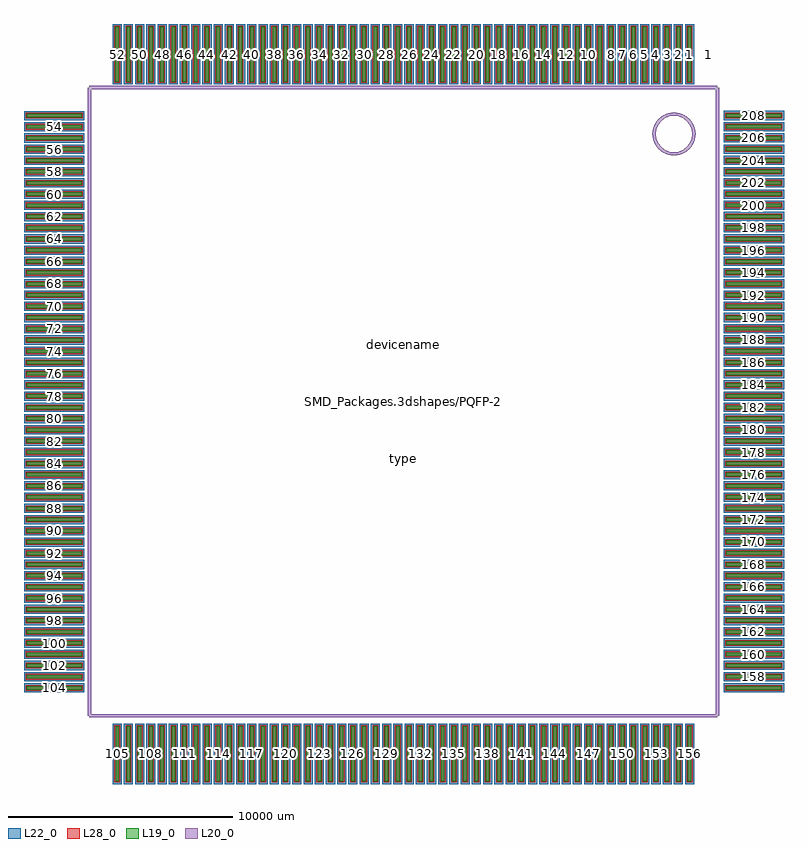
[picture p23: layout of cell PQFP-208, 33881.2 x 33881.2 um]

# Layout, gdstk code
import gdstk
lib = gdstk.Library(unit=1e-6, precision=1e-09)
def R(c, l, rs):  # rectangles x0, y0, x1, y1
    for r in rs: c.add(gdstk.rectangle(r[:2], r[2:], *l))
def A(c, l, x, y, w, h, nx, ny, dx, dy):  # array of equal rectangles
    R(c, l, [(x+i*dx, y+j*dy, x+i*dx+w, y+j*dy+h) for i in range(nx) for j in range(ny)])
L19_0 = (19, 0)
L20_0 = (20, 0)
L22_0 = (22, 0)
L28_0 = (28, 0)

pqfp_208 = lib.new_cell('PQFP-208')
A(pqfp_208, L19_0, -12835.42, -16917.2, 154, 2440, 52, 1, 500.38, 0)
A(pqfp_208, L19_0, -16790.2, -12837.96, 2440, 154, 1, 52, 0, 500.38)
A(pqfp_208, L19_0, 14401, -12835.42, 2440, 154, 1, 52, 0, 500.38)
A(pqfp_208, L19_0, -12837.96, 14274, 154, 2440, 52, 1, 500.38, 0)
A(pqfp_208, L22_0, -12960.42, -17042.2, 404, 2690, 52, 1, 500.38, 0)
A(pqfp_208, L22_0, -16915.2, -12962.96, 2690, 404, 1, 52, 0, 500.38)
A(pqfp_208, L22_0, 14276, -12960.42, 2690, 404, 1, 52, 0, 500.38)
A(pqfp_208, L22_0, -12962.96, 14149, 404, 2690, 52, 1, 500.38, 0)
A(pqfp_208, L28_0, -12885.42, -16967.2, 254, 2540, 52, 1, 500.38, 0)
A(pqfp_208, L28_0, -16840.2, -12887.96, 2540, 254, 1, 52, 0, 500.38)
A(pqfp_208, L28_0, 14351, -12885.42, 2540, 254, 1, 52, 0, 500.38)
A(pqfp_208, L28_0, -12887.96, 14224, 254, 2540, 52, 1, 500.38, 0)
pqfp_208.add(gdstk.FlexPath([(12065,12827),(11834.91,12796.708),(11620.5,12707.897),(11436.382,12566.618),(11295.103,12382.5),(11206.292,12168.09),(11176,11938),(11206.292,11707.91),(11295.103,11493.5),(11436.382,11309.382),(11620.5,11168.103),(11834.91,11079.292),(12065,11049),(12295.09,11079.292),(12509.5,11168.103),(12693.618,11309.382),(12834.897,11493.5),(12923.708,11707.91),(12954,11938),(12923.708,12168.09),(12834.897,12382.5),(12693.618,12566.618),(12509.5,12707.897),(12295.09,12796.708),(12065,12827)], 149.998, ends="flush", simple_path=True, layer=20, datatype=0))  # L20_0
pqfp_208.add(gdstk.FlexPath([(14000.48,14000.48),(0,14000.48)], 149.998, ends="flush", simple_path=True, layer=20, datatype=0))  # L20_0
pqfp_208.add(gdstk.FlexPath([(14000.48,0),(14000.48,14000.48)], 149.998, ends="flush", simple_path=True, layer=20, datatype=0))  # L20_0
pqfp_208.add(gdstk.FlexPath([(14000.48,-14000.48),(14000.48,0)], 149.998, ends="flush", simple_path=True, layer=20, datatype=0))  # L20_0
pqfp_208.add(gdstk.FlexPath([(0,-14000.48),(14000.48,-14000.48)], 149.998, ends="flush", simple_path=True, layer=20, datatype=0))  # L20_0
pqfp_208.add(gdstk.FlexPath([(-14000.48,-14000.48),(0,-14000.48)], 149.998, ends="flush", simple_path=True, layer=20, datatype=0))  # L20_0
pqfp_208.add(gdstk.FlexPath([(-14000.48,0),(-14000.48,-14000.48)], 149.998, ends="flush", simple_path=True, layer=20, datatype=0))  # L20_0
pqfp_208.add(gdstk.FlexPath([(-14000.48,14000.48),(-14000.48,0)], 149.998, ends="flush", simple_path=True, layer=20, datatype=0))  # L20_0
pqfp_208.add(gdstk.FlexPath([(0,14000.48),(-14000.48,14000.48)], 149.998, ends="flush", simple_path=True, layer=20, datatype=0))  # L20_0
pqfp_208.add(gdstk.Label('SMD_Packages.3dshapes/PQFP-208.wrl', (0,0), layer=12, texttype=0))
pqfp_208.add(gdstk.Label('208', (15621,12760.96), layer=28, texttype=0))
pqfp_208.add(gdstk.Label('207', (15621,12260.58), layer=28, texttype=0))
pqfp_208.add(gdstk.Label('206', (15621,11760.2), layer=28, texttype=0))
pqfp_208.add(gdstk.Label('205', (15621,11259.82), layer=28, texttype=0))
pqfp_208.add(gdstk.Label('204', (15621,10759.44), layer=28, texttype=0))
pqfp_208.add(gdstk.Label('203', (15621,10259.06), layer=28, texttype=0))
pqfp_208.add(gdstk.Label('202', (15621,9758.68), layer=28, texttype=0))
pqfp_208.add(gdstk.Label('201', (15621,9258.3), layer=28, texttype=0))
pqfp_208.add(gdstk.Label('200', (15621,8757.92), layer=28, texttype=0))
pqfp_208.add(gdstk.Label('199', (15621,8257.54), layer=28, texttype=0))
pqfp_208.add(gdstk.Label('198', (15621,7757.16), layer=28, texttype=0))
pqfp_208.add(gdstk.Label('197', (15621,7256.78), layer=28, texttype=0))
pqfp_208.add(gdstk.Label('196', (15621,6756.4), layer=28, texttype=0))
pqfp_208.add(gdstk.Label('195', (15621,6256.02), layer=28, texttype=0))
pqfp_208.add(gdstk.Label('194', (15621,5755.64), layer=28, texttype=0))
pqfp_208.add(gdstk.Label('193', (15621,5255.26), layer=28, texttype=0))
pqfp_208.add(gdstk.Label('192', (15621,4754.88), layer=28, texttype=0))
pqfp_208.add(gdstk.Label('191', (15621,4254.5), layer=28, texttype=0))
pqfp_208.add(gdstk.Label('190', (15621,3754.12), layer=28, texttype=0))
pqfp_208.add(gdstk.Label('189', (15621,3253.74), layer=28, texttype=0))
pqfp_208.add(gdstk.Label('188', (15621,2753.36), layer=28, texttype=0))
pqfp_208.add(gdstk.Label('187', (15621,2252.98), layer=28, texttype=0))
pqfp_208.add(gdstk.Label('186', (15621,1752.6), layer=28, texttype=0))
pqfp_208.add(gdstk.Label('185', (15621,1252.22), layer=28, texttype=0))
pqfp_208.add(gdstk.Label('184', (15621,751.84), layer=28, texttype=0))
pqfp_208.add(gdstk.Label('183', (15621,251.46), layer=28, texttype=0))
pqfp_208.add(gdstk.Label('182', (15621,-248.92), layer=28, texttype=0))
pqfp_208.add(gdstk.Label('181', (15621,-749.3), layer=28, texttype=0))
pqfp_208.add(gdstk.Label('180', (15621,-1249.68), layer=28, texttype=0))
pqfp_208.add(gdstk.Label('179', (15621,-1750.06), layer=28, texttype=0))
pqfp_208.add(gdstk.Label('178', (15621,-2250.44), layer=28, texttype=0))
pqfp_208.add(gdstk.Label('177', (15621,-2750.82), layer=28, texttype=0))
pqfp_208.add(gdstk.Label('176', (15621,-3251.2), layer=28, texttype=0))
pqfp_208.add(gdstk.Label('175', (15621,-3751.58), layer=28, texttype=0))
pqfp_208.add(gdstk.Label('174', (15621,-4251.96), layer=28, texttype=0))
pqfp_208.add(gdstk.Label('173', (15621,-4752.34), layer=28, texttype=0))
pqfp_208.add(gdstk.Label('172', (15621,-5252.72), layer=28, texttype=0))
pqfp_208.add(gdstk.Label('171', (15621,-5753.1), layer=28, texttype=0))
pqfp_208.add(gdstk.Label('170', (15621,-6253.48), layer=28, texttype=0))
pqfp_208.add(gdstk.Label('169', (15621,-6753.86), layer=28, texttype=0))
pqfp_208.add(gdstk.Label('168', (15621,-7254.24), layer=28, texttype=0))
pqfp_208.add(gdstk.Label('167', (15621,-7754.62), layer=28, texttype=0))
pqfp_208.add(gdstk.Label('166', (15621,-8255), layer=28, texttype=0))
pqfp_208.add(gdstk.Label('165', (15621,-8755.38), layer=28, texttype=0))
pqfp_208.add(gdstk.Label('164', (15621,-9255.76), layer=28, texttype=0))
pqfp_208.add(gdstk.Label('163', (15621,-9756.14), layer=28, texttype=0))
pqfp_208.add(gdstk.Label('162', (15621,-10256.52), layer=28, texttype=0))
pqfp_208.add(gdstk.Label('161', (15621,-10756.9), layer=28, texttype=0))
pqfp_208.add(gdstk.Label('160', (15621,-11257.28), layer=28, texttype=0))
pqfp_208.add(gdstk.Label('159', (15621,-11757.66), layer=28, texttype=0))
pqfp_208.add(gdstk.Label('158', (15621,-12258.04), layer=28, texttype=0))
pqfp_208.add(gdstk.Label('157', (15621,-12758.42), layer=28, texttype=0))
pqfp_208.add(gdstk.Label('156', (12760.96,-15697.2), layer=28, texttype=0))
pqfp_208.add(gdstk.Label('155', (12260.58,-15697.2), layer=28, texttype=0))
pqfp_208.add(gdstk.Label('154', (11760.2,-15697.2), layer=28, texttype=0))
pqfp_208.add(gdstk.Label('153', (11259.82,-15697.2), layer=28, texttype=0))
pqfp_208.add(gdstk.Label('152', (10759.44,-15697.2), layer=28, texttype=0))
pqfp_208.add(gdstk.Label('151', (10259.06,-15697.2), layer=28, texttype=0))
pqfp_208.add(gdstk.Label('150', (9758.68,-15697.2), layer=28, texttype=0))
pqfp_208.add(gdstk.Label('149', (9258.3,-15697.2), layer=28, texttype=0))
pqfp_208.add(gdstk.Label('148', (8757.92,-15697.2), layer=28, texttype=0))
pqfp_208.add(gdstk.Label('147', (8257.54,-15697.2), layer=28, texttype=0))
pqfp_208.add(gdstk.Label('146', (7757.16,-15697.2), layer=28, texttype=0))
pqfp_208.add(gdstk.Label('145', (7256.78,-15697.2), layer=28, texttype=0))
pqfp_208.add(gdstk.Label('144', (6756.4,-15697.2), layer=28, texttype=0))
pqfp_208.add(gdstk.Label('143', (6256.02,-15697.2), layer=28, texttype=0))
pqfp_208.add(gdstk.Label('142', (5755.64,-15697.2), layer=28, texttype=0))
pqfp_208.add(gdstk.Label('141', (5255.26,-15697.2), layer=28, texttype=0))
pqfp_208.add(gdstk.Label('140', (4754.88,-15697.2), layer=28, texttype=0))
pqfp_208.add(gdstk.Label('139', (4254.5,-15697.2), layer=28, texttype=0))
pqfp_208.add(gdstk.Label('138', (3754.12,-15697.2), layer=28, texttype=0))
pqfp_208.add(gdstk.Label('137', (3253.74,-15697.2), layer=28, texttype=0))
pqfp_208.add(gdstk.Label('136', (2753.36,-15697.2), layer=28, texttype=0))
pqfp_208.add(gdstk.Label('135', (2252.98,-15697.2), layer=28, texttype=0))
pqfp_208.add(gdstk.Label('134', (1752.6,-15697.2), layer=28, texttype=0))
pqfp_208.add(gdstk.Label('133', (1252.22,-15697.2), layer=28, texttype=0))
pqfp_208.add(gdstk.Label('132', (751.84,-15697.2), layer=28, texttype=0))
pqfp_208.add(gdstk.Label('131', (251.46,-15697.2), layer=28, texttype=0))
pqfp_208.add(gdstk.Label('130', (-248.92,-15697.2), layer=28, texttype=0))
pqfp_208.add(gdstk.Label('129', (-749.3,-15697.2), layer=28, texttype=0))
pqfp_208.add(gdstk.Label('128', (-1249.68,-15697.2), layer=28, texttype=0))
pqfp_208.add(gdstk.Label('127', (-1750.06,-15697.2), layer=28, texttype=0))
pqfp_208.add(gdstk.Label('126', (-2250.44,-15697.2), layer=28, texttype=0))
pqfp_208.add(gdstk.Label('125', (-2750.82,-15697.2), layer=28, texttype=0))
pqfp_208.add(gdstk.Label('124', (-3251.2,-15697.2), layer=28, texttype=0))
pqfp_208.add(gdstk.Label('123', (-3751.58,-15697.2), layer=28, texttype=0))
pqfp_208.add(gdstk.Label('122', (-4251.96,-15697.2), layer=28, texttype=0))
pqfp_208.add(gdstk.Label('121', (-4752.34,-15697.2), layer=28, texttype=0))
pqfp_208.add(gdstk.Label('120', (-5252.72,-15697.2), layer=28, texttype=0))
pqfp_208.add(gdstk.Label('119', (-5753.1,-15697.2), layer=28, texttype=0))
pqfp_208.add(gdstk.Label('118', (-6253.48,-15697.2), layer=28, texttype=0))
pqfp_208.add(gdstk.Label('117', (-6753.86,-15697.2), layer=28, texttype=0))
pqfp_208.add(gdstk.Label('116', (-7254.24,-15697.2), layer=28, texttype=0))
pqfp_208.add(gdstk.Label('115', (-7754.62,-15697.2), layer=28, texttype=0))
pqfp_208.add(gdstk.Label('114', (-8255,-15697.2), layer=28, texttype=0))
pqfp_208.add(gdstk.Label('113', (-8755.38,-15697.2), layer=28, texttype=0))
pqfp_208.add(gdstk.Label('112', (-9255.76,-15697.2), layer=28, texttype=0))
pqfp_208.add(gdstk.Label('111', (-9756.14,-15697.2), layer=28, texttype=0))
pqfp_208.add(gdstk.Label('110', (-10256.52,-15697.2), layer=28, texttype=0))
pqfp_208.add(gdstk.Label('109', (-10756.9,-15697.2), layer=28, texttype=0))
pqfp_208.add(gdstk.Label('108', (-11257.28,-15697.2), layer=28, texttype=0))
pqfp_208.add(gdstk.Label('107', (-11757.66,-15697.2), layer=28, texttype=0))
pqfp_208.add(gdstk.Label('106', (-12258.04,-15697.2), layer=28, texttype=0))
pqfp_208.add(gdstk.Label('105', (-12758.42,-15697.2), layer=28, texttype=0))
pqfp_208.add(gdstk.Label('104', (-15570.2,-12760.96), layer=28, texttype=0))
pqfp_208.add(gdstk.Label('103', (-15570.2,-12260.58), layer=28, texttype=0))
pqfp_208.add(gdstk.Label('102', (-15570.2,-11760.2), layer=28, texttype=0))
pqfp_208.add(gdstk.Label('101', (-15570.2,-11259.82), layer=28, texttype=0))
pqfp_208.add(gdstk.Label('100', (-15570.2,-10759.44), layer=28, texttype=0))
pqfp_208.add(gdstk.Label('99', (-15570.2,-10259.06), layer=28, texttype=0))
pqfp_208.add(gdstk.Label('98', (-15570.2,-9758.68), layer=28, texttype=0))
pqfp_208.add(gdstk.Label('97', (-15570.2,-9258.3), layer=28, texttype=0))
pqfp_208.add(gdstk.Label('96', (-15570.2,-8757.92), layer=28, texttype=0))
pqfp_208.add(gdstk.Label('95', (-15570.2,-8257.54), layer=28, texttype=0))
pqfp_208.add(gdstk.Label('94', (-15570.2,-7757.16), layer=28, texttype=0))
pqfp_208.add(gdstk.Label('93', (-15570.2,-7256.78), layer=28, texttype=0))
pqfp_208.add(gdstk.Label('92', (-15570.2,-6756.4), layer=28, texttype=0))
pqfp_208.add(gdstk.Label('91', (-15570.2,-6256.02), layer=28, texttype=0))
pqfp_208.add(gdstk.Label('90', (-15570.2,-5755.64), layer=28, texttype=0))
pqfp_208.add(gdstk.Label('89', (-15570.2,-5255.26), layer=28, texttype=0))
pqfp_208.add(gdstk.Label('88', (-15570.2,-4754.88), layer=28, texttype=0))
pqfp_208.add(gdstk.Label('87', (-15570.2,-4254.5), layer=28, texttype=0))
pqfp_208.add(gdstk.Label('86', (-15570.2,-3754.12), layer=28, texttype=0))
pqfp_208.add(gdstk.Label('85', (-15570.2,-3253.74), layer=28, texttype=0))
pqfp_208.add(gdstk.Label('84', (-15570.2,-2753.36), layer=28, texttype=0))
pqfp_208.add(gdstk.Label('83', (-15570.2,-2252.98), layer=28, texttype=0))
pqfp_208.add(gdstk.Label('82', (-15570.2,-1752.6), layer=28, texttype=0))
pqfp_208.add(gdstk.Label('81', (-15570.2,-1252.22), layer=28, texttype=0))
pqfp_208.add(gdstk.Label('80', (-15570.2,-751.84), layer=28, texttype=0))
pqfp_208.add(gdstk.Label('79', (-15570.2,-251.46), layer=28, texttype=0))
pqfp_208.add(gdstk.Label('78', (-15570.2,248.92), layer=28, texttype=0))
pqfp_208.add(gdstk.Label('77', (-15570.2,749.3), layer=28, texttype=0))
pqfp_208.add(gdstk.Label('76', (-15570.2,1249.68), layer=28, texttype=0))
pqfp_208.add(gdstk.Label('75', (-15570.2,1750.06), layer=28, texttype=0))
pqfp_208.add(gdstk.Label('74', (-15570.2,2250.44), layer=28, texttype=0))
pqfp_208.add(gdstk.Label('73', (-15570.2,2750.82), layer=28, texttype=0))
pqfp_208.add(gdstk.Label('72', (-15570.2,3251.2), layer=28, texttype=0))
pqfp_208.add(gdstk.Label('71', (-15570.2,3751.58), layer=28, texttype=0))
pqfp_208.add(gdstk.Label('70', (-15570.2,4251.96), layer=28, texttype=0))
pqfp_208.add(gdstk.Label('69', (-15570.2,4752.34), layer=28, texttype=0))
pqfp_208.add(gdstk.Label('68', (-15570.2,5252.72), layer=28, texttype=0))
pqfp_208.add(gdstk.Label('67', (-15570.2,5753.1), layer=28, texttype=0))
pqfp_208.add(gdstk.Label('66', (-15570.2,6253.48), layer=28, texttype=0))
pqfp_208.add(gdstk.Label('65', (-15570.2,6753.86), layer=28, texttype=0))
pqfp_208.add(gdstk.Label('64', (-15570.2,7254.24), layer=28, texttype=0))
pqfp_208.add(gdstk.Label('63', (-15570.2,7754.62), layer=28, texttype=0))
pqfp_208.add(gdstk.Label('62', (-15570.2,8255), layer=28, texttype=0))
pqfp_208.add(gdstk.Label('61', (-15570.2,8755.38), layer=28, texttype=0))
pqfp_208.add(gdstk.Label('60', (-15570.2,9255.76), layer=28, texttype=0))
pqfp_208.add(gdstk.Label('59', (-15570.2,9756.14), layer=28, texttype=0))
pqfp_208.add(gdstk.Label('58', (-15570.2,10256.52), layer=28, texttype=0))
pqfp_208.add(gdstk.Label('57', (-15570.2,10756.9), layer=28, texttype=0))
pqfp_208.add(gdstk.Label('56', (-15570.2,11257.28), layer=28, texttype=0))
pqfp_208.add(gdstk.Label('55', (-15570.2,11757.66), layer=28, texttype=0))
pqfp_208.add(gdstk.Label('54', (-15570.2,12258.04), layer=28, texttype=0))
pqfp_208.add(gdstk.Label('53', (-15570.2,12758.42), layer=28, texttype=0))
pqfp_208.add(gdstk.Label('52', (-12760.96,15494), layer=28, texttype=0))
pqfp_208.add(gdstk.Label('51', (-12260.58,15494), layer=28, texttype=0))
pqfp_208.add(gdstk.Label('50', (-11760.2,15494), layer=28, texttype=0))
pqfp_208.add(gdstk.Label('49', (-11259.82,15494), layer=28, texttype=0))
pqfp_208.add(gdstk.Label('48', (-10759.44,15494), layer=28, texttype=0))
pqfp_208.add(gdstk.Label('47', (-10259.06,15494), layer=28, texttype=0))
pqfp_208.add(gdstk.Label('46', (-9758.68,15494), layer=28, texttype=0))
pqfp_208.add(gdstk.Label('45', (-9258.3,15494), layer=28, texttype=0))
pqfp_208.add(gdstk.Label('44', (-8757.92,15494), layer=28, texttype=0))
pqfp_208.add(gdstk.Label('43', (-8257.54,15494), layer=28, texttype=0))
pqfp_208.add(gdstk.Label('42', (-7757.16,15494), layer=28, texttype=0))
pqfp_208.add(gdstk.Label('41', (-7256.78,15494), layer=28, texttype=0))
pqfp_208.add(gdstk.Label('40', (-6756.4,15494), layer=28, texttype=0))
pqfp_208.add(gdstk.Label('39', (-6256.02,15494), layer=28, texttype=0))
pqfp_208.add(gdstk.Label('38', (-5755.64,15494), layer=28, texttype=0))
pqfp_208.add(gdstk.Label('37', (-5255.26,15494), layer=28, texttype=0))
pqfp_208.add(gdstk.Label('36', (-4754.88,15494), layer=28, texttype=0))
pqfp_208.add(gdstk.Label('35', (-4254.5,15494), layer=28, texttype=0))
pqfp_208.add(gdstk.Label('34', (-3754.12,15494), layer=28, texttype=0))
pqfp_208.add(gdstk.Label('33', (-3253.74,15494), layer=28, texttype=0))
pqfp_208.add(gdstk.Label('32', (-2753.36,15494), layer=28, texttype=0))
pqfp_208.add(gdstk.Label('31', (-2252.98,15494), layer=28, texttype=0))
pqfp_208.add(gdstk.Label('30', (-1752.6,15494), layer=28, texttype=0))
pqfp_208.add(gdstk.Label('29', (-1252.22,15494), layer=28, texttype=0))
pqfp_208.add(gdstk.Label('28', (-751.84,15494), layer=28, texttype=0))
pqfp_208.add(gdstk.Label('27', (-251.46,15494), layer=28, texttype=0))
pqfp_208.add(gdstk.Label('26', (248.92,15494), layer=28, texttype=0))
pqfp_208.add(gdstk.Label('25', (749.3,15494), layer=28, texttype=0))
pqfp_208.add(gdstk.Label('24', (1249.68,15494), layer=28, texttype=0))
pqfp_208.add(gdstk.Label('23', (1750.06,15494), layer=28, texttype=0))
pqfp_208.add(gdstk.Label('22', (2250.44,15494), layer=28, texttype=0))
pqfp_208.add(gdstk.Label('21', (2750.82,15494), layer=28, texttype=0))
pqfp_208.add(gdstk.Label('20', (3251.2,15494), layer=28, texttype=0))
pqfp_208.add(gdstk.Label('19', (3751.58,15494), layer=28, texttype=0))
pqfp_208.add(gdstk.Label('18', (4251.96,15494), layer=28, texttype=0))
pqfp_208.add(gdstk.Label('17', (4752.34,15494), layer=28, texttype=0))
pqfp_208.add(gdstk.Label('16', (5252.72,15494), layer=28, texttype=0))
pqfp_208.add(gdstk.Label('15', (5753.1,15494), layer=28, texttype=0))
pqfp_208.add(gdstk.Label('14', (6253.48,15494), layer=28, texttype=0))
pqfp_208.add(gdstk.Label('13', (6753.86,15494), layer=28, texttype=0))
pqfp_208.add(gdstk.Label('12', (7254.24,15494), layer=28, texttype=0))
pqfp_208.add(gdstk.Label('11', (7754.62,15494), layer=28, texttype=0))
pqfp_208.add(gdstk.Label('10', (8255,15494), layer=28, texttype=0))
pqfp_208.add(gdstk.Label('9', (8755.38,15494), layer=28, texttype=0))
pqfp_208.add(gdstk.Label('8', (9255.76,15494), layer=28, texttype=0))
pqfp_208.add(gdstk.Label('7', (9756.14,15494), layer=28, texttype=0))
pqfp_208.add(gdstk.Label('6', (10256.52,15494), layer=28, texttype=0))
pqfp_208.add(gdstk.Label('5', (10756.9,15494), layer=28, texttype=0))
pqfp_208.add(gdstk.Label('4', (11257.28,15494), layer=28, texttype=0))
pqfp_208.add(gdstk.Label('3', (11757.66,15494), layer=28, texttype=0))
pqfp_208.add(gdstk.Label('2', (12258.04,15494), layer=28, texttype=0))
pqfp_208.add(gdstk.Label('1', (12758.42,15494), layer=28, texttype=0))
pqfp_208.add(gdstk.Label('1', (13589,15494), layer=9, texttype=0))
pqfp_208.add(gdstk.Label('type', (0,-2540), layer=9, texttype=0))
pqfp_208.add(gdstk.Label('devicename', (0,2540), layer=9, texttype=0))

lib.write_gds('PQFP-208.gds')
